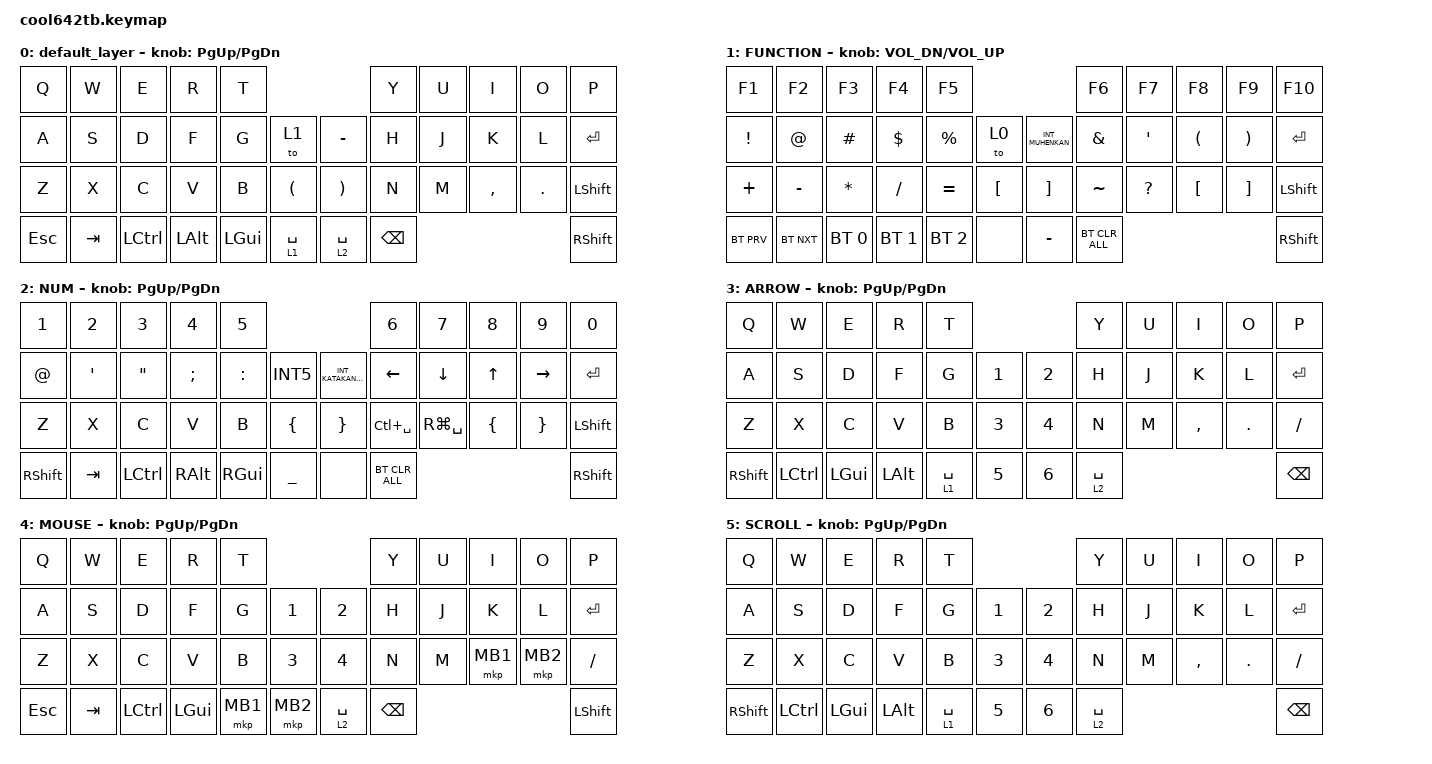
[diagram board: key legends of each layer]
#include <behaviors.dtsi>
#include <dt-bindings/zmk/bt.h>
#include <dt-bindings/zmk/keys.h>
#include <dt-bindings/zmk/pointing.h>

#define MOUSE 4
#define SCROLL 5
#define NUM 6

&mt {
    flavor = "balanced";
    quick-tap-ms = <0>;
};

/ {
    combos {
        compatible = "zmk,combos";

        comb1 {
            bindings = <&kp TAB>;
            key-positions = <11 10>;
        };

        comb2 {
            bindings = <&kp ESCAPE>;
            key-positions = <0 1>;
        };

        comb4 {
            bindings = <&kp BACKSPACE>;
            key-positions = <9 8>;
        };
    };

    macros {
        to_layer_0: to_layer_0 {
            compatible = "zmk,behavior-macro-one-param";
            #binding-cells = <1>;
            bindings = <&to 0 &macro_param_1to1 &kp MACRO_PLACEHOLDER>;
            label = "TO_LAYER_0";
        };
    };

    behaviors {
        lt_to_layer_0: lt_to_layer_0 {
            compatible = "zmk,behavior-hold-tap";
            label = "LAYER_TAP_TO_0";
            bindings = <&mo>, <&to_layer_0>;

            #binding-cells = <2>;
            tapping-term-ms = <200>;
        };
    };

    keymap {
        compatible = "zmk,keymap";

        default_layer {
            bindings = <
&kp Q       &kp W    &kp E             &kp R         &kp T                                                      &kp Y          &kp U  &kp I      &kp O       &kp P
&kp A       &kp S    &kp D             &kp F         &kp G         &to 1                 &kp MINUS              &kp H          &kp J  &kp K      &kp L       &kp ENTER
&kp Z       &kp X    &kp C             &kp V         &kp B         &kp LEFT_PARENTHESIS  &kp RIGHT_PARENTHESIS  &kp N          &kp M  &kp COMMA  &kp PERIOD  &kp LEFT_SHIFT
&kp ESCAPE  &kp TAB  &kp LEFT_CONTROL  &kp LEFT_ALT  &kp LEFT_GUI  &lt 1 SPACE           &lt 2 SPACE            &kp BACKSPACE                                &kp RIGHT_SHIFT
            >;

            sensor-bindings = <&inc_dec_kp PG_UP PAGE_DOWN>;
        };

        FUNCTION {
            bindings = <
&kp F1           &kp F2       &kp F3        &kp F4        &kp F5                                             &kp F6          &kp F7        &kp F8                &kp F9                 &kp F10
&kp EXCLAMATION  &kp AT_SIGN  &kp HASH      &kp DOLLAR    &kp PERCENT   &to 0             &kp INT_MUHENKAN   &kp AMPERSAND   &kp SQT       &kp LEFT_PARENTHESIS  &kp RIGHT_PARENTHESIS  &kp ENTER
&kp PLUS         &kp MINUS    &kp ASTERISK  &kp SLASH     &kp EQUAL     &kp LEFT_BRACKET  &kp RIGHT_BRACKET  &kp TILDE       &kp QUESTION  &kp LEFT_BRACKET      &kp RIGHT_BRACKET      &kp LEFT_SHIFT
&bt BT_PRV       &bt BT_NXT   &bt BT_SEL 0  &bt BT_SEL 1  &bt BT_SEL 2  &none             &kp MINUS          &bt BT_CLR_ALL                                                             &kp RIGHT_SHIFT
            >;

            sensor-bindings = <&inc_dec_kp C_VOL_DN C_VOL_UP>;
        };

        NUM {
            bindings = <
&kp NUMBER_1  &kp NUMBER_2  &kp NUMBER_3       &kp NUMBER_4   &kp NUMBER_5                                             &kp NUMBER_6    &kp NUMBER_7    &kp NUMBER_8    &kp NUMBER_9     &kp NUMBER_0
&kp AT_SIGN   &kp SQT       &kp DOUBLE_QUOTES  &kp SEMICOLON  &kp COLON      &kp INT5        &kp INT_KATAKANAHIRAGANA  &kp LEFT        &kp DOWN_ARROW  &kp UP_ARROW    &kp RIGHT        &kp ENTER
&kp Z         &kp X         &kp C              &kp V          &kp B          &kp LEFT_BRACE  &kp RIGHT_BRACE           &kp LC(SPACE)   &kp RG(SPACE)   &kp LEFT_BRACE  &kp RIGHT_BRACE  &kp LEFT_SHIFT
&kp RSHIFT    &kp TAB       &kp LCTRL          &kp RIGHT_ALT  &kp RIGHT_GUI  &kp UNDERSCORE  &none                     &bt BT_CLR_ALL                                                   &kp RIGHT_SHIFT
            >;

            sensor-bindings = <&inc_dec_kp PG_UP PAGE_DOWN>;
        };

        ARROW {
            bindings = <
&kp Q       &kp W      &kp E     &kp R     &kp T                        &kp Y        &kp U  &kp I      &kp O       &kp P
&kp A       &kp S      &kp D     &kp F     &kp G        &kp N1  &kp N2  &kp H        &kp J  &kp K      &kp L       &kp ENTER
&kp Z       &kp X      &kp C     &kp V     &kp B        &kp N3  &kp N4  &kp N        &kp M  &kp COMMA  &kp PERIOD  &kp SLASH
&kp RSHIFT  &kp LCTRL  &kp LGUI  &kp LALT  &lt 1 SPACE  &kp N5  &kp N6  &lt 2 SPACE                                &kp BSPC
            >;

            sensor-bindings = <&inc_dec_kp PG_UP PAGE_DOWN>;
        };

        MOUSE {
            bindings = <
&kp Q       &kp W    &kp E             &kp R         &kp T                            &kp Y          &kp U  &kp I     &kp O     &kp P
&kp A       &kp S    &kp D             &kp F         &kp G     &kp N1    &kp N2       &kp H          &kp J  &kp K     &kp L     &kp ENTER
&kp Z       &kp X    &kp C             &kp V         &kp B     &kp N3    &kp N4       &kp N          &kp M  &mkp MB1  &mkp MB2  &kp SLASH
&kp ESCAPE  &kp TAB  &kp LEFT_CONTROL  &kp LEFT_GUI  &mkp MB1  &mkp MB2  &lt 2 SPACE  &kp BACKSPACE                             &kp LEFT_SHIFT
            >;

            sensor-bindings = <&inc_dec_kp PG_UP PAGE_DOWN>;
        };

        SCROLL {
            bindings = <
&kp Q       &kp W      &kp E     &kp R     &kp T                        &kp Y        &kp U  &kp I      &kp O       &kp P
&kp A       &kp S      &kp D     &kp F     &kp G        &kp N1  &kp N2  &kp H        &kp J  &kp K      &kp L       &kp ENTER
&kp Z       &kp X      &kp C     &kp V     &kp B        &kp N3  &kp N4  &kp N        &kp M  &kp COMMA  &kp PERIOD  &kp SLASH
&kp RSHIFT  &kp LCTRL  &kp LGUI  &kp LALT  &lt 1 SPACE  &kp N5  &kp N6  &lt 2 SPACE                                &kp BSPC
            >;

            sensor-bindings = <&inc_dec_kp PG_UP PAGE_DOWN>;
        };
    };
};
